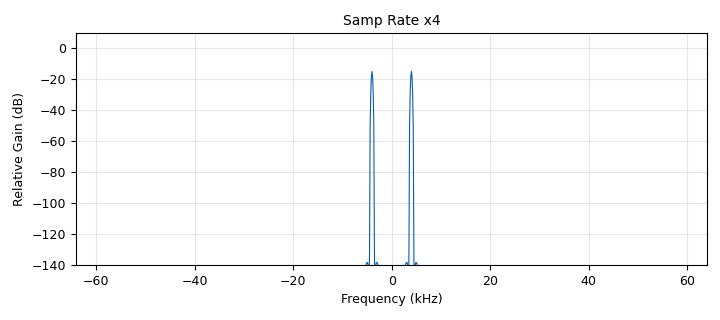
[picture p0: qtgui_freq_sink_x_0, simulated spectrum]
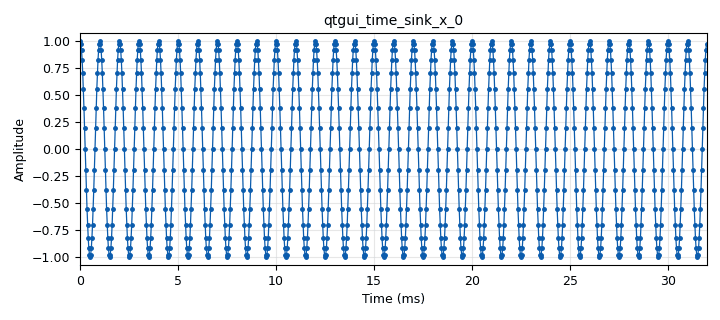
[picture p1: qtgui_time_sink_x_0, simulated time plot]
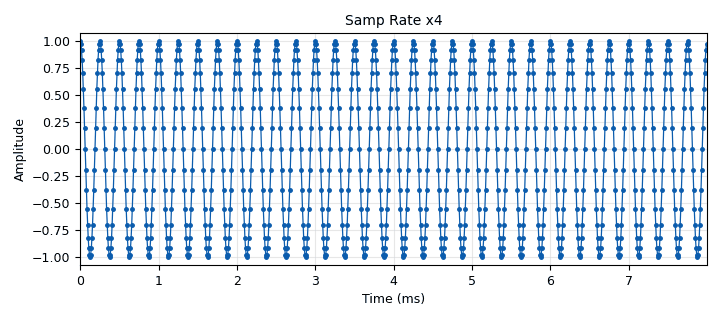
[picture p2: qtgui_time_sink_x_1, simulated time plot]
options:
  parameters:
    generate_options: qt_gui
    id: sample_rate_increase
    output_language: python
    title: Not titled yet
  states: {}

blocks:
- name: samp_rate
  id: variable
  parameters:
    value: '32000'
  states: {}
- name: analog_sig_source_x_0
  id: analog_sig_source_x
  parameters:
    amp: '1'
    freq: '1000'
    offset: '0'
    phase: '0'
    samp_rate: samp_rate
    type: float
    waveform: analog.GR_COS_WAVE
  states: {}
- name: blocks_throttle2_0
  id: blocks_throttle2
  parameters:
    samples_per_second: samp_rate
    type: float
  states: {}
- name: qtgui_freq_sink_x_0
  id: qtgui_freq_sink_x
  parameters:
    bw: samp_rate*4
    fc: '0'
    fftsize: '1024'
    name: '"Samp Rate x4"'
    type: float
  states: {}
- name: qtgui_time_sink_x_0
  id: qtgui_time_sink_x
  parameters:
    ctrlpanel: 'True'
    marker1: '0'
    size: '1024'
    srate: samp_rate
    type: float
  states: {}
- name: qtgui_time_sink_x_1
  id: qtgui_time_sink_x
  parameters:
    ctrlpanel: 'True'
    marker1: '0'
    name: '"Samp Rate x4"'
    size: '1024'
    srate: samp_rate*4
    type: float
  states: {}

connections:
- [analog_sig_source_x_0, '0', blocks_throttle2_0, '0']
- [blocks_throttle2_0, '0', qtgui_freq_sink_x_0, '0']
- [blocks_throttle2_0, '0', qtgui_time_sink_x_0, '0']
- [blocks_throttle2_0, '0', qtgui_time_sink_x_1, '0']

metadata:
  file_format: 1
  grc_version: 3.10.6.0
